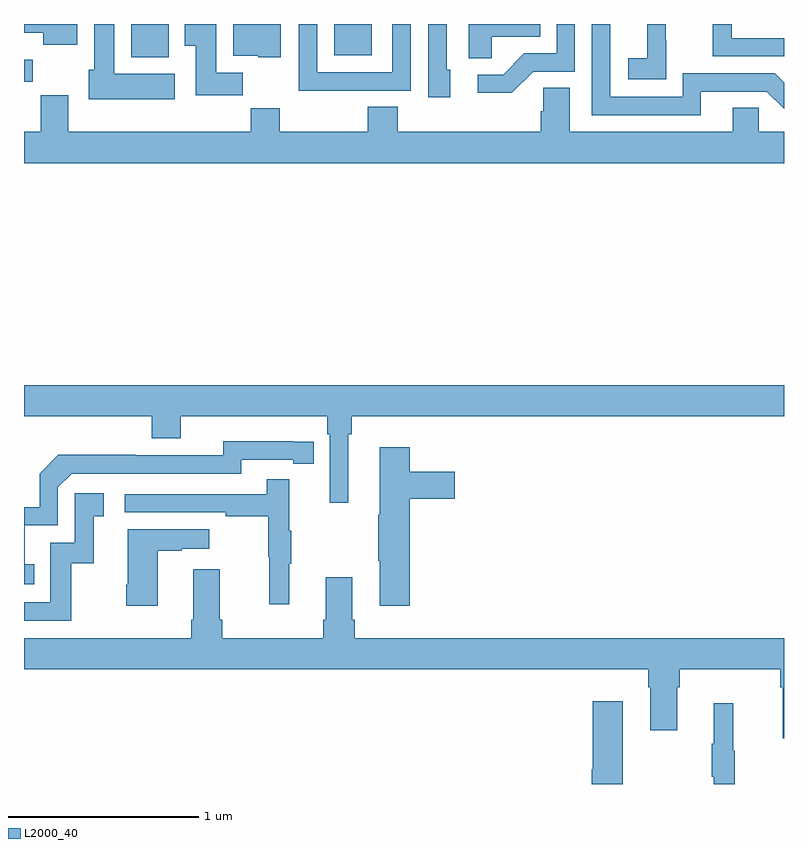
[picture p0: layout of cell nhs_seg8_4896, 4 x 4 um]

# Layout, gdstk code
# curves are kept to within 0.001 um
import gdstk
lib = gdstk.Library(unit=1e-6, precision=1e-09)
def R(c, l, rs):  # rectangles x0, y0, x1, y1
    for r in rs: c.add(gdstk.rectangle(r[:2], r[2:], *l))
def P(c, l, *ps):  # polygons
    for p in ps: c.add(gdstk.Polygon(p, *l))
L2000_40 = (2000, 40)

nhs_seg8_4896 = lib.new_cell('nhs_seg8_4896')
R(nhs_seg8_4896, L2000_40, [(407,1115.595,407.045,1115.713), (407.564,1115.726,407.761,1115.9), (408.632,1115.735,408.829,1115.9)])
P(nhs_seg8_4896, L2000_40, [(409.461,1115.834),(409.718,1115.834),(409.718,1115.9),(409.34,1115.9),(409.34,1115.719),(409.461,1115.719)],
  [(409.68,1115.649),(409.899,1115.649),(409.899,1115.9),(409.803,1115.9),(409.803,1115.745),(409.634,1115.745),(409.523,1115.634),(409.389,1115.634),(409.389,1115.537),(409.567,1115.537)],
  [(410.379,1115.815),(410.378,1115.815),(410.378,1115.9),(410.279,1115.9),(410.279,1115.719),(410.181,1115.719),(410.181,1115.609),(410.379,1115.609)],
  [(407.794,1115.638),(407.476,1115.638),(407.476,1115.9),(407.369,1115.9),(407.369,1115.658),(407.342,1115.658),(407.342,1115.504),(407.794,1115.504)],
  [(408.152,1115.644),(408.013,1115.644),(408.013,1115.9),(407.846,1115.9),(407.846,1115.785),(407.903,1115.785),(407.903,1115.526),(408.152,1115.526)],
  [(407.281,1115.9),(407,1115.9),(407,1115.855),(407.102,1115.855),(407.102,1115.792),(407.281,1115.792)],
  [(408.352,1115.9),(408.101,1115.9),(408.101,1115.732),(408.234,1115.732),(408.234,1115.726),(408.352,1115.726)],
  [(410.563,1115.544),(410.91,1115.544),(411,1115.454),(411,1115.592),(410.952,1115.64),(410.466,1115.64),(410.466,1115.517),(410.085,1115.517),(410.085,1115.9),(409.989,1115.9),(409.989,1115.421),(410.563,1115.421)],
  [(409.243,1115.658),(409.224,1115.658),(409.224,1115.9),(409.128,1115.9),(409.128,1115.514),(409.243,1115.514)],
  [(411,1115.826),(410.724,1115.826),(410.724,1115.9),(410.626,1115.9),(410.626,1115.73),(411,1115.73)],
  [(408.719,1115.55),(409.035,1115.55),(409.035,1115.9),(408.939,1115.9),(408.939,1115.646),(408.543,1115.646),(408.543,1115.9),(408.447,1115.9),(408.447,1115.549),(408.719,1115.549)],
  [(408.193,1115.456),(408.193,1115.332),(407.233,1115.332),(407.233,1115.525),(407.087,1115.525),(407.087,1115.332),(407,1115.332),(407,1115.168),(411,1115.168),(411,1115.332),(410.868,1115.332),(410.868,1115.459),(410.729,1115.459),(410.729,1115.332),(409.873,1115.332),(409.873,1115.564),(409.734,1115.564),(409.734,1115.441),(409.721,1115.441),(409.721,1115.332),(408.968,1115.332),(408.968,1115.465),(408.808,1115.465),(408.808,1115.332),(408.345,1115.332),(408.345,1115.456)],
  [(407,1113.836),(407.672,1113.836),(407.672,1113.719),(407.824,1113.719),(407.824,1113.836),(408.596,1113.836),(408.596,1113.74),(408.609,1113.74),(408.609,1113.381),(408.706,1113.381),(408.706,1113.74),(408.725,1113.74),(408.725,1113.836),(411,1113.836),(411,1114),(407,1114)],
  [(407.054,1113.057),(407.005,1113.057),(407.005,1113.261),(407.178,1113.261),(407.178,1113.462),(407.25,1113.534),(408.144,1113.534),(408.144,1113.606),(408.416,1113.606),(408.416,1113.586),(408.524,1113.586),(408.524,1113.702),(408.048,1113.703),(408.048,1113.63),(407.588,1113.63),(407.588,1113.632),(407.18,1113.632),(407.082,1113.534),(407.082,1113.357),(407,1113.357),(407,1112.952),(407.054,1112.952)],
  [(409.031,1113.401),(409.267,1113.401),(409.267,1113.543),(409.031,1113.543),(409.031,1113.673),(408.872,1113.673),(408.872,1113.317),(408.865,1113.317),(408.865,1113.076),(408.872,1113.076),(408.872,1112.838),(409.031,1112.838)],
  [(408.395,1113.059),(408.406,1113.059),(408.406,1113.233),(408.395,1113.233),(408.395,1113.505),(408.277,1113.505),(408.277,1113.426),(407.529,1113.426),(407.529,1113.33),(408.061,1113.33),(408.061,1113.31),(408.285,1113.31),(408.285,1113.096),(408.292,1113.096),(408.292,1112.847),(408.395,1112.847)],
  [(407.248,1113.063),(407.366,1113.063),(407.366,1113.309),(407.419,1113.309),(407.419,1113.43),(407.268,1113.43),(407.268,1113.171),(407.139,1113.171),(407.139,1112.856),(407,1112.856),(407,1112.76),(407.248,1112.76)],
  [(407.704,1113.127),(407.831,1113.127),(407.831,1113.137),(407.974,1113.137),(407.974,1113.241),(407.546,1113.241),(407.546,1112.95),(407.539,1112.95),(407.539,1112.838),(407.704,1112.838)],
  [(408.587,1112.989),(408.587,1112.764),(408.575,1112.764),(408.575,1112.668),(408.044,1112.668),(408.044,1112.764),(408.031,1112.764),(408.031,1113.031),(407.891,1113.031),(407.891,1112.764),(407.879,1112.764),(407.879,1112.668),(407,1112.668),(407,1112.504),(410.285,1112.504),(410.285,1112.408),(410.297,1112.408),(410.297,1112.184),(410.437,1112.184),(410.437,1112.408),(410.45,1112.408),(410.45,1112.504),(410.981,1112.504),(410.981,1112.408),(410.993,1112.408),(410.993,1112.142),(411,1112.142),(411,1112.668),(408.74,1112.668),(408.74,1112.764),(408.727,1112.764),(408.727,1112.989)],
  [(410.152,1112.335),(409.994,1112.335),(409.994,1111.977),(409.988,1111.977),(409.988,1111.9),(410.152,1111.9)],
  [(410.74,1112.076),(410.732,1112.076),(410.732,1112.326),(410.63,1112.326),(410.63,1112.113),(410.619,1112.113),(410.619,1111.939),(410.63,1111.939),(410.63,1111.9),(410.74,1111.9)])

lib.write_gds('nhs_seg8_4896.gds')
